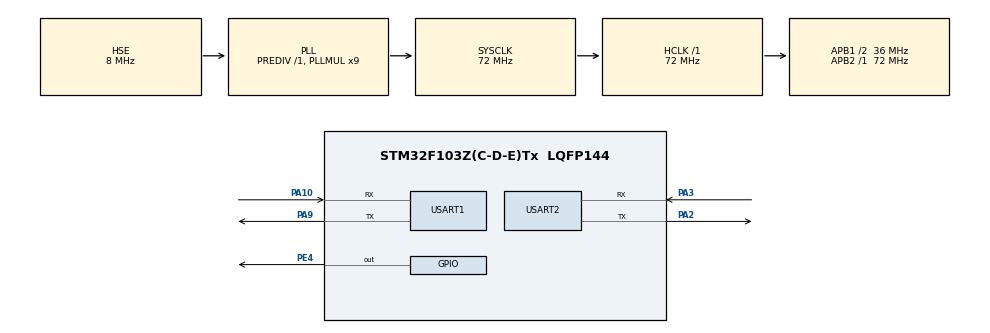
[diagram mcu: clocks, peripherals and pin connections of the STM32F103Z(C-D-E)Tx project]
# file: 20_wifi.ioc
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Mcu.Family=STM32F1
Mcu.Name=STM32F103Z(C-D-E)Tx
Mcu.Package=LQFP144
NVIC.PriorityGroup=NVIC_PRIORITYGROUP_4
NVIC.USART1_IRQn=true\:0\:0\:false\:false\:true\:true\:true\:true
NVIC.USART2_IRQn=true\:0\:0\:false\:false\:true\:true\:true\:true
OSC_IN.Mode=HSE-External-Oscillator
OSC_IN.Signal=RCC_OSC_IN
OSC_OUT.Mode=HSE-External-Oscillator
OSC_OUT.Signal=RCC_OSC_OUT
PA10.Mode=Asynchronous
PA10.Signal=USART1_RX
PA13.Mode=Serial_Wire
PA13.Signal=SYS_JTMS-SWDIO
PA14.Mode=Serial_Wire
PA14.Signal=SYS_JTCK-SWCLK
PA2.Mode=Asynchronous
PA2.Signal=USART2_TX
PA3.Mode=Asynchronous
PA3.Signal=USART2_RX
PA9.Mode=Asynchronous
PA9.Signal=USART1_TX
PC14-OSC32_IN.Mode=LSE-External-Oscillator
PC14-OSC32_IN.Signal=RCC_OSC32_IN
PC15-OSC32_OUT.Mode=LSE-External-Oscillator
PC15-OSC32_OUT.Signal=RCC_OSC32_OUT
PE4.GPIO_ModeDefaultOutputPP=GPIO_MODE_OUTPUT_PP
PE4.GPIO_PuPd=GPIO_PULLUP
PE4.GPIO_Speed=GPIO_SPEED_FREQ_HIGH
PE4.Signal=GPIO_Output
ProjectManager.HeapSize=0x200
ProjectManager.StackSize=0x400
ProjectManager.TargetToolchain=CMake
RCC.AHBFreq_Value=72000000
RCC.APB1CLKDivider=RCC_HCLK_DIV2
RCC.APB1Freq_Value=36000000
RCC.APB1TimFreq_Value=72000000
RCC.APB2Freq_Value=72000000
RCC.APB2TimFreq_Value=72000000
RCC.HCLKFreq_Value=72000000
RCC.PLLMUL=RCC_PLL_MUL9
RCC.PLLSourceVirtual=RCC_PLLSOURCE_HSE
RCC.SYSCLKFreq_VALUE=72000000
RCC.SYSCLKSource=RCC_SYSCLKSOURCE_PLLCLK
RCC.USBFreq_Value=72000000
USART1.VirtualMode=VM_ASYNC
USART2.VirtualMode=VM_ASYNC
board=custom

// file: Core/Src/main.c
/* USER CODE BEGIN Header */
/**
  ******************************************************************************
  * @file           : main.c
  * @brief          : Main program body
  ******************************************************************************
  * @attention
  *
  * Copyright (c) 2026 STMicroelectronics.
  * All rights reserved.
  *
  * This software is licensed under terms that can be found in the LICENSE file
  * in the root directory of this software component.
  * If no LICENSE file comes with this software, it is provided AS-IS.
  *
  ******************************************************************************
  */
/* USER CODE END Header */
#include "main.h"
#include "usart.h"
#include "gpio.h"

/* USER CODE BEGIN Includes */

#include <stdio.h>
#include <string.h>

#include "esp32.h"
#include "wifi.h"

/* USER CODE END Includes */

void SystemClock_Config(void);
/* USER CODE BEGIN PFP */

// 缓存区
uint8_t main_rx_buf[1024] = {0};
uint16_t main_rx_len;

/* USER CODE END PFP */

int main(void)
{

  /* MCU Configuration--------------------------------------------------------*/

  /* Reset of all peripherals, Initializes the Flash interface and the Systick. */
  HAL_Init();

  /* Configure the system clock */
  SystemClock_Config();

  /* Initialize all configured peripherals */
  MX_GPIO_Init();
  MX_USART1_UART_Init();
  MX_USART2_UART_Init();
  /* USER CODE BEGIN 2 */

  printf("============= ESP32 init start =============\r\n");

  HAL_Delay(1000);

  // ESP32完整初始化（包含握手、关闭回显、获取并打印设备信息）
  esp32_init();

  HAL_Delay(300);

  // WIFI初始化 STA
  Wifi_Init(STA);

  // 开始启动 server
  Wifi_StartServer();

  /* USER CODE END 2 */

  /* Infinite loop */
  /* USER CODE BEGIN WHILE */
  while (1)
  {
    /* 接收数据参数：
     * - rx_buf / sizeof(rx_buf)  : 接收缓冲区 / 其容量
     * - conn_id / conn_port / conn_ip : 由 Wifi_ReadData 填充
     *   （conn_id 范围 0~4，conn_ip 必须 >= 32 字节）
     */
    uint8_t conn_id = 0;
    uint16_t conn_port = 0;
    char conn_ip[32] = {0};

    // main_rx_buf 清理
    memset(main_rx_buf, 0, sizeof(main_rx_buf));

    /* 1. 接收一帧 ESP32 +IPD 数据
     *    返回值 n > 0：成功解析，返回 data 字节数（已截断到不超过 sizeof(rx_buf)）
     *    返回值 n = 0：无数据 / 非 +IPD 帧 / 解析失败
     */
    uint16_t n = Wifi_ReadData(main_rx_buf, sizeof(main_rx_buf),
                               &conn_id, &conn_port, (uint8_t*)conn_ip);

    /* 2. 只有成功接收到数据才回发 ack */
    if (n > 0)
    {
      /* 加上 "ack:" 前缀回发给客户端 */
      char ack[1100];
      int ack_len = snprintf(ack, sizeof(ack), "ack:%s", (char*)main_rx_buf);
      if (ack_len > 0)
      {
        printf("conn_id: %d, conn_port: %d, conn_ip: %s\r\n",
               conn_id, conn_port, conn_ip);
        printf("rx: %s\r\n", (char*)main_rx_buf);

        /* ack_len 不超过 1100；Wifi_SendData 接受 uint16_t */
        if (ack_len > 1100) ack_len = 1100;
        Wifi_SendData(conn_id, (uint8_t*)ack, (uint16_t)ack_len);

        printf("返回数据: %s\r\n", ack);
      }
    }

    HAL_Delay(1000);

    /* USER CODE END WHILE */

  }
}

void SystemClock_Config(void)
{
  RCC_OscInitTypeDef RCC_OscInitStruct = {0};
  RCC_ClkInitTypeDef RCC_ClkInitStruct = {0};

  /** Initializes the RCC Oscillators according to the specified parameters
  * in the RCC_OscInitTypeDef structure.
  */
  RCC_OscInitStruct.OscillatorType = RCC_OSCILLATORTYPE_HSE;
  RCC_OscInitStruct.HSEState = RCC_HSE_ON;
  RCC_OscInitStruct.HSEPredivValue = RCC_HSE_PREDIV_DIV1;
  RCC_OscInitStruct.HSIState = RCC_HSI_ON;
  RCC_OscInitStruct.PLL.PLLState = RCC_PLL_ON;
  RCC_OscInitStruct.PLL.PLLSource = RCC_PLLSOURCE_HSE;
  RCC_OscInitStruct.PLL.PLLMUL = RCC_PLL_MUL9;
  if (HAL_RCC_OscConfig(&RCC_OscInitStruct) != HAL_OK)
  {
    Error_Handler();
  }

  /** Initializes the CPU, AHB and APB buses clocks
  */
  RCC_ClkInitStruct.ClockType = RCC_CLOCKTYPE_HCLK | RCC_CLOCKTYPE_SYSCLK
    | RCC_CLOCKTYPE_PCLK1 | RCC_CLOCKTYPE_PCLK2;
  RCC_ClkInitStruct.SYSCLKSource = RCC_SYSCLKSOURCE_PLLCLK;
  RCC_ClkInitStruct.AHBCLKDivider = RCC_SYSCLK_DIV1;
  RCC_ClkInitStruct.APB1CLKDivider = RCC_HCLK_DIV2;
  RCC_ClkInitStruct.APB2CLKDivider = RCC_HCLK_DIV1;

  if (HAL_RCC_ClockConfig(&RCC_ClkInitStruct, FLASH_LATENCY_2) != HAL_OK)
  {
    Error_Handler();
  }
}

void Error_Handler(void)
{
  /* USER CODE BEGIN Error_Handler_Debug */
  /* User can add his own implementation to report the HAL error return state */
  __disable_irq();
  while (1)
  {
    printf("Error_Handler\r\n");
  }
  /* USER CODE END Error_Handler_Debug */
}
